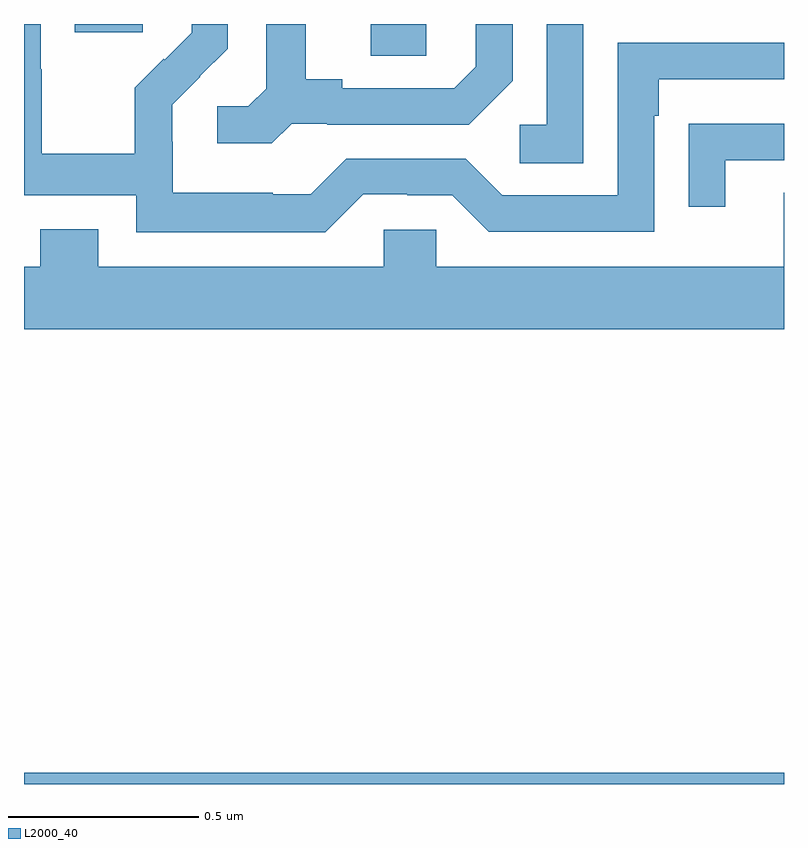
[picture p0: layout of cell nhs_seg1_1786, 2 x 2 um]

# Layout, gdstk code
import gdstk
lib = gdstk.Library(unit=1e-6, precision=1e-09)
def R(c, l, rs):  # rectangles x0, y0, x1, y1
    for r in rs: c.add(gdstk.rectangle(r[:2], r[2:], *l))
def P(c, l, *ps):  # polygons
    for p in ps: c.add(gdstk.Polygon(p, *l))
L2000_40 = (2000, 40)

nhs_seg1_1786 = lib.new_cell('nhs_seg1_1786')
R(nhs_seg1_1786, L2000_40, [(133,553.199,135,553.228), (133.913,555.115,134.058,555.199), (133.133,555.177,133.312,555.199)])
P(nhs_seg1_1786, L2000_40, [(133.893,554.751),(134.009,554.751),(134.009,554.748),(134.127,554.748),(134.223,554.652),(134.658,554.652),(134.658,554.957),(134.671,554.957),(134.671,555.054),(135,555.054),(135,555.15),(134.562,555.15),(134.562,554.748),(134.259,554.748),(134.163,554.844),(133.848,554.844),(133.755,554.751),(133.655,554.751),(133.655,554.755),(133.392,554.755),(133.392,554.889),(133.39,554.889),(133.39,554.986),(133.464,555.06),(133.463,555.061),(133.536,555.134),(133.536,555.199),(133.442,555.199),(133.442,555.176),(133.371,555.105),(133.368,555.108),(133.291,555.031),(133.291,554.857),(133.047,554.857),(133.047,555.08),(133.044,555.08),(133.044,555.199),(133,555.199),(133,554.748),(133.296,554.748),(133.296,554.651),(133.793,554.651)],
  [(134.472,555.199),(134.376,555.199),(134.376,554.934),(134.304,554.934),(134.304,554.833),(134.472,554.833)],
  [(133.704,554.937),(133.798,554.937),(133.798,554.934),(134.17,554.934),(134.286,555.05),(134.286,555.199),(134.189,555.199),(134.189,555.087),(134.132,555.03),(133.837,555.03),(133.837,555.053),(133.741,555.053),(133.741,555.199),(133.637,555.199),(133.637,555.029),(133.59,554.982),(133.509,554.982),(133.509,554.885),(133.652,554.885)],
  [(134.845,554.841),(135,554.841),(135,554.937),(134.851,554.937),(134.851,554.936),(134.749,554.936),(134.749,554.718),(134.845,554.718)],
  [(135,554.755),(134.999,554.755),(134.999,554.56),(134.085,554.56),(134.085,554.658),(133.947,554.658),(133.947,554.56),(133.195,554.56),(133.195,554.659),(133.043,554.659),(133.043,554.56),(133,554.56),(133,554.396),(135,554.396)])

lib.write_gds('nhs_seg1_1786.gds')
